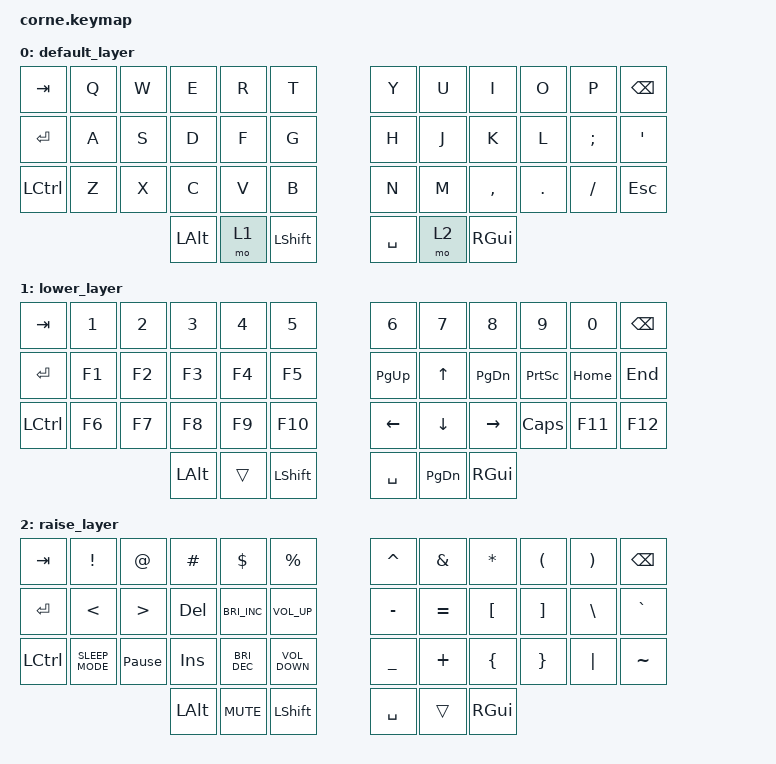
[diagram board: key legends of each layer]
/*
 * Copyright (c) 2020 The ZMK Contributors
 *
 * SPDX-License-Identifier: MIT
 */

#include <behaviors.dtsi>
#include <dt-bindings/zmk/keys.h>

/ {
    keymap {
        compatible = "zmk,keymap";

        default_layer {
            // -----------------------------------------------------------------------------------------
            // |  TAB |  Q  |  W  |  E  |  R  |  T  |   |  Y  |  U   |  I  |  O  |  P  | BKSP |
            // | CTRL |  A  |  S  |  D  |  F  |  G  |   |  H  |  J   |  K  |  L  |  ;  |  '   |
            // | SHFT |  Z  |  X  |  C  |  V  |  B  |   |  N  |  M   |  ,  |  .  |  /  | ESC  |
            //                    | GUI | LWR | SPC |   | ENT | RSE  | ALT |

            bindings = <
&kp TAB           &kp Q  &kp W  &kp E         &kp R  &kp T             &kp Y      &kp U  &kp I          &kp O    &kp P     &kp BSPC
&kp ENTER         &kp A  &kp S  &kp D         &kp F  &kp G             &kp H      &kp J  &kp K          &kp L    &kp SEMI  &kp SQT
&kp LEFT_CONTROL  &kp Z  &kp X  &kp C         &kp V  &kp B             &kp N      &kp M  &kp COMMA      &kp DOT  &kp FSLH  &kp ESC
                                &kp LEFT_ALT  &mo 1  &kp LEFT_SHIFT    &kp SPACE  &mo 2  &kp RIGHT_GUI
            >;
        };

        lower_layer {
            // -----------------------------------------------------------------------------------------
            // |  TAB |  1  |  2  |  3  |  4  |  5  |   |  6  |  7  |  8  |  9  |  0  | BKSP |
            // | BTCLR| BT1 | BT2 | BT3 | BT4 | BT5 |   | LFT | DWN |  UP | RGT |     |      |
            // | SHFT |     |     |     |     |     |   |     |     |     |     |     |      |
            //                    | GUI |     | SPC |   | ENT |     | ALT |

            bindings = <
&kp TAB           &kp N1  &kp N2  &kp N3        &kp N4  &kp N5            &kp N6       &kp N7         &kp N8         &kp N9           &kp N0    &kp BSPC
&kp ENTER         &kp F1  &kp F2  &kp F3        &kp F4  &kp F5            &kp PAGE_UP  &kp UP_ARROW   &kp PAGE_DOWN  &kp PRINTSCREEN  &kp HOME  &kp END
&kp LEFT_CONTROL  &kp F6  &kp F7  &kp F8        &kp F9  &kp F10           &kp LEFT     &kp DOWN       &kp RIGHT      &kp CAPS         &kp F11   &kp F12
                                  &kp LEFT_ALT  &trans  &kp LEFT_SHIFT    &kp SPACE    &kp PAGE_DOWN  &kp RIGHT_GUI
            >;
        };

        raise_layer {
            // -----------------------------------------------------------------------------------------
            // |  TAB |  !  |  @  |  #  |  $  |  %  |   |  ^  |  &  |  *  |  (  |  )  | BKSP |
            // | CTRL |     |     |     |     |     |   |  -  |  =  |  [  |  ]  |  \  |  `   |
            // | SHFT |     |     |     |     |     |   |  _  |  +  |  {  |  }  | "|" |  ~   |
            //                    | GUI |     | SPC |   | ENT |     | ALT |

            bindings = <
&kp TAB           &kp EXCL          &kp AT            &kp HASH      &kp DLLR              &kp PRCNT            &kp CARET  &kp AMPS   &kp ASTRK      &kp LPAR  &kp RPAR  &kp BSPC
&kp ENTER         &kp LESS_THAN     &kp GREATER_THAN  &kp DEL       &kp C_BRIGHTNESS_INC  &kp C_VOLUME_UP      &kp MINUS  &kp EQUAL  &kp LBKT       &kp RBKT  &kp BSLH  &kp GRAVE
&kp LEFT_CONTROL  &kp C_SLEEP_MODE  &kp PAUSE_BREAK   &kp INSERT    &kp C_BRI_DEC         &kp C_VOLUME_DOWN    &kp UNDER  &kp PLUS   &kp LBRC       &kp RBRC  &kp PIPE  &kp TILDE
                                                      &kp LEFT_ALT  &kp C_MUTE            &kp LEFT_SHIFT       &kp SPACE  &trans     &kp RIGHT_GUI
            >;
        };
    };
};
